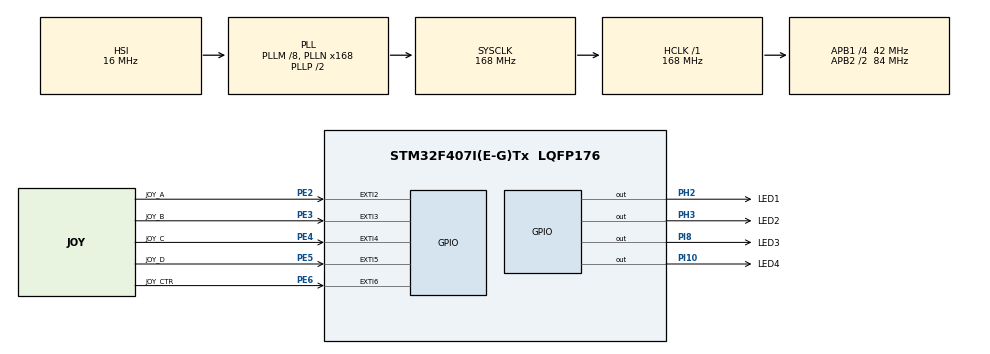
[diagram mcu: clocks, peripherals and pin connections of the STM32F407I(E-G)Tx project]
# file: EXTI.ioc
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Mcu.Family=STM32F4
Mcu.Name=STM32F407I(E-G)Tx
Mcu.Package=LQFP176
NVIC.EXTI2_IRQn=true\:12\:0\:true\:false\:true
NVIC.EXTI3_IRQn=true\:13\:0\:true\:false\:true
NVIC.EXTI4_IRQn=true\:14\:0\:true\:false\:true
NVIC.EXTI9_5_IRQn=true\:15\:0\:true\:false\:true
NVIC.PriorityGroup=NVIC_PRIORITYGROUP_4
PE2.GPIO_Label=JOY_A
PE2.GPIO_ModeDefaultEXTI=GPIO_MODE_IT_FALLING
PE2.GPIO_PuPd=GPIO_PULLUP
PE2.Signal=GPXTI2
PE3.GPIO_Label=JOY_B
PE3.GPIO_ModeDefaultEXTI=GPIO_MODE_IT_FALLING
PE3.GPIO_PuPd=GPIO_PULLUP
PE3.Signal=GPXTI3
PE4.GPIO_Label=JOY_C
PE4.GPIO_ModeDefaultEXTI=GPIO_MODE_IT_FALLING
PE4.GPIO_PuPd=GPIO_PULLUP
PE4.Signal=GPXTI4
PE5.GPIO_Label=JOY_D
PE5.GPIO_ModeDefaultEXTI=GPIO_MODE_IT_FALLING
PE5.GPIO_PuPd=GPIO_PULLUP
PE5.Signal=GPXTI5
PE6.GPIO_Label=JOY_CTR
PE6.GPIO_ModeDefaultEXTI=GPIO_MODE_IT_FALLING
PE6.GPIO_PuPd=GPIO_PULLUP
PE6.Signal=GPXTI6
PH0-OSC_IN.Mode=HSE-External-Oscillator
PH0-OSC_IN.Signal=RCC_OSC_IN
PH1-OSC_OUT.Mode=HSE-External-Oscillator
PH1-OSC_OUT.Signal=RCC_OSC_OUT
PH2.GPIO_Label=LED1
PH2.Signal=GPIO_Output
PH3.GPIO_Label=LED2
PH3.Signal=GPIO_Output
PI10.GPIO_Label=LED4
PI10.Signal=GPIO_Output
PI8-\ ANTI\ TAMP2.GPIO_Label=LED3
PI8-\ ANTI\ TAMP2.Signal=GPIO_Output
ProjectManager.HeapSize=0x1000
ProjectManager.StackSize=0x2000
ProjectManager.TargetToolchain=MDK-ARM V5
RCC.48MHZClocksFreq_Value=84000000
RCC.AHBFreq_Value=168000000
RCC.APB1CLKDivider=RCC_HCLK_DIV4
RCC.APB1Freq_Value=42000000
RCC.APB1TimFreq_Value=84000000
RCC.APB2CLKDivider=RCC_HCLK_DIV2
RCC.APB2Freq_Value=84000000
RCC.APB2TimFreq_Value=168000000
RCC.CortexFreq_Value=168000000
RCC.HCLKFreq_Value=168000000
RCC.HSE_VALUE=8000000
RCC.HSI_VALUE=16000000
RCC.LSE_VALUE=32768
RCC.PLLM=8
RCC.PLLN=168
RCC.SYSCLKFreq_VALUE=168000000
RCC.SYSCLKSource=RCC_SYSCLKSOURCE_PLLCLK
RCC.VCOOutputFreq_Value=336000000
board=EXTI

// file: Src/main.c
/**
  ******************************************************************************
  * File Name          : main.c
  * Description        : Main program body
  ******************************************************************************
  *
  * COPYRIGHT(c) 2017 STMicroelectronics
  *
  * Redistribution and use in source and binary forms, with or without modification,
  * are permitted provided that the following conditions are met:
  *   1. Redistributions of source code must retain the above copyright notice,
  *      this list of conditions and the following disclaimer.
  *   2. Redistributions in binary form must reproduce the above copyright notice,
  *      this list of conditions and the following disclaimer in the documentation
  *      and/or other materials provided with the distribution.
  *   3. Neither the name of STMicroelectronics nor the names of its contributors
  *      may be used to endorse or promote products derived from this software
  *      without specific prior written permission.
  *
  * THIS SOFTWARE IS PROVIDED BY THE COPYRIGHT HOLDERS AND CONTRIBUTORS "AS IS"
  * AND ANY EXPRESS OR IMPLIED WARRANTIES, INCLUDING, BUT NOT LIMITED TO, THE
  * IMPLIED WARRANTIES OF MERCHANTABILITY AND FITNESS FOR A PARTICULAR PURPOSE ARE
  * DISCLAIMED. IN NO EVENT SHALL THE COPYRIGHT HOLDER OR CONTRIBUTORS BE LIABLE
  * FOR ANY DIRECT, INDIRECT, INCIDENTAL, SPECIAL, EXEMPLARY, OR CONSEQUENTIAL
  * DAMAGES (INCLUDING, BUT NOT LIMITED TO, PROCUREMENT OF SUBSTITUTE GOODS OR
  * SERVICES; LOSS OF USE, DATA, OR PROFITS; OR BUSINESS INTERRUPTION) HOWEVER
  * CAUSED AND ON ANY THEORY OF LIABILITY, WHETHER IN CONTRACT, STRICT LIABILITY,
  * OR TORT (INCLUDING NEGLIGENCE OR OTHERWISE) ARISING IN ANY WAY OUT OF THE USE
  * OF THIS SOFTWARE, EVEN IF ADVISED OF THE POSSIBILITY OF SUCH DAMAGE.
  *
  ******************************************************************************
  */
#include "main.h"
#include "stm32f4xx_hal.h"
#include "gpio.h"

/* USER CODE BEGIN PV */
/* Private variables ---------------------------------------------------------*/

/* USER CODE END PV */

void SystemClock_Config(void);
void Error_Handler(void);

/* USER CODE BEGIN PFP */
/* Private function prototypes -----------------------------------------------*/

/* USER CODE END PFP */

int main(void)
{

  /* MCU Configuration----------------------------------------------------------*/

  /* Reset of all peripherals, Initializes the Flash interface and the Systick. */
  HAL_Init();

  /* Configure the system clock */
  SystemClock_Config();

  /* Initialize all configured peripherals */
  MX_GPIO_Init();

  /* Infinite loop */
  while (1)
  {

  }

}

/** System Clock Configuration
*/
void SystemClock_Config(void)
{

  RCC_OscInitTypeDef RCC_OscInitStruct;
  RCC_ClkInitTypeDef RCC_ClkInitStruct;

    /**Configure the main internal regulator output voltage
    */
  __HAL_RCC_PWR_CLK_ENABLE();

  __HAL_PWR_VOLTAGESCALING_CONFIG(PWR_REGULATOR_VOLTAGE_SCALE1);

    /**Initializes the CPU, AHB and APB busses clocks
    */
  RCC_OscInitStruct.OscillatorType = RCC_OSCILLATORTYPE_HSI;
  RCC_OscInitStruct.HSIState = RCC_HSI_ON;
  RCC_OscInitStruct.HSICalibrationValue = 16;
  RCC_OscInitStruct.PLL.PLLState = RCC_PLL_ON;
  RCC_OscInitStruct.PLL.PLLSource = RCC_PLLSOURCE_HSI;
  RCC_OscInitStruct.PLL.PLLM = 8;
  RCC_OscInitStruct.PLL.PLLN = 168;
  RCC_OscInitStruct.PLL.PLLP = RCC_PLLP_DIV2;
  RCC_OscInitStruct.PLL.PLLQ = 4;
  if (HAL_RCC_OscConfig(&RCC_OscInitStruct) != HAL_OK)
  {
    Error_Handler();
  }

    /**Initializes the CPU, AHB and APB busses clocks
    */
  RCC_ClkInitStruct.ClockType = RCC_CLOCKTYPE_HCLK|RCC_CLOCKTYPE_SYSCLK
                              |RCC_CLOCKTYPE_PCLK1|RCC_CLOCKTYPE_PCLK2;
  RCC_ClkInitStruct.SYSCLKSource = RCC_SYSCLKSOURCE_PLLCLK;
  RCC_ClkInitStruct.AHBCLKDivider = RCC_SYSCLK_DIV1;
  RCC_ClkInitStruct.APB1CLKDivider = RCC_HCLK_DIV4;
  RCC_ClkInitStruct.APB2CLKDivider = RCC_HCLK_DIV2;

  if (HAL_RCC_ClockConfig(&RCC_ClkInitStruct, FLASH_LATENCY_5) != HAL_OK)
  {
    Error_Handler();
  }

    /**Configure the Systick interrupt time
    */
  HAL_SYSTICK_Config(HAL_RCC_GetHCLKFreq()/1000);

    /**Configure the Systick
    */
  HAL_SYSTICK_CLKSourceConfig(SYSTICK_CLKSOURCE_HCLK);

  /* SysTick_IRQn interrupt configuration */
  HAL_NVIC_SetPriority(SysTick_IRQn, 0, 0);
}

/* USER CODE BEGIN 4 */
/**
  * @brief  EXTI line detection callbacks
  * @param  GPIO_Pin: Specifies the pins connected EXTI line
  * @retval None
  */
void HAL_GPIO_EXTI_Callback(uint16_t GPIO_Pin)
{
  /* Press WAKEUP KEY and USER KEY to toggle LEDs. */
  if(HAL_GPIO_ReadPin(JOY_A_GPIO_Port, JOY_A_Pin) == GPIO_PIN_RESET)
  {
    HAL_GPIO_TogglePin(LED1_GPIO_Port, LED1_Pin);
  }
  if(HAL_GPIO_ReadPin(JOY_B_GPIO_Port, JOY_B_Pin) == GPIO_PIN_RESET)
  {
    HAL_GPIO_TogglePin(LED2_GPIO_Port, LED2_Pin);
  }
  if(HAL_GPIO_ReadPin(JOY_C_GPIO_Port, JOY_C_Pin) == GPIO_PIN_RESET)
  {
    HAL_GPIO_TogglePin(LED3_GPIO_Port, LED3_Pin);
  }
  if(HAL_GPIO_ReadPin(JOY_D_GPIO_Port, JOY_D_Pin) == GPIO_PIN_RESET)
  {
    HAL_GPIO_TogglePin(LED4_GPIO_Port, LED4_Pin);
  }
  if(HAL_GPIO_ReadPin(JOY_CTR_GPIO_Port, JOY_CTR_Pin) == GPIO_PIN_RESET)
  {
    HAL_GPIO_TogglePin(LED1_GPIO_Port, LED1_Pin);
    HAL_GPIO_TogglePin(LED2_GPIO_Port, LED2_Pin);
    HAL_GPIO_TogglePin(LED3_GPIO_Port, LED3_Pin);
    HAL_GPIO_TogglePin(LED4_GPIO_Port, LED4_Pin);
  }
  /** This prevents the USER KEY from inadvertently touch.
    * To use HAL_Delay function,
    * NVIC priority of EXTI interrupts must be lower than System tick timer.
    * See: NVIC Configuration in STM32CubeMX (Higher number has lower priority). */
  HAL_Delay(200);
}
/* USER CODE END 4 */

void Error_Handler(void)
{
  while(1)
  {
  }
}

/************************ (C) COPYRIGHT STMicroelectronics *****END OF FILE****/
